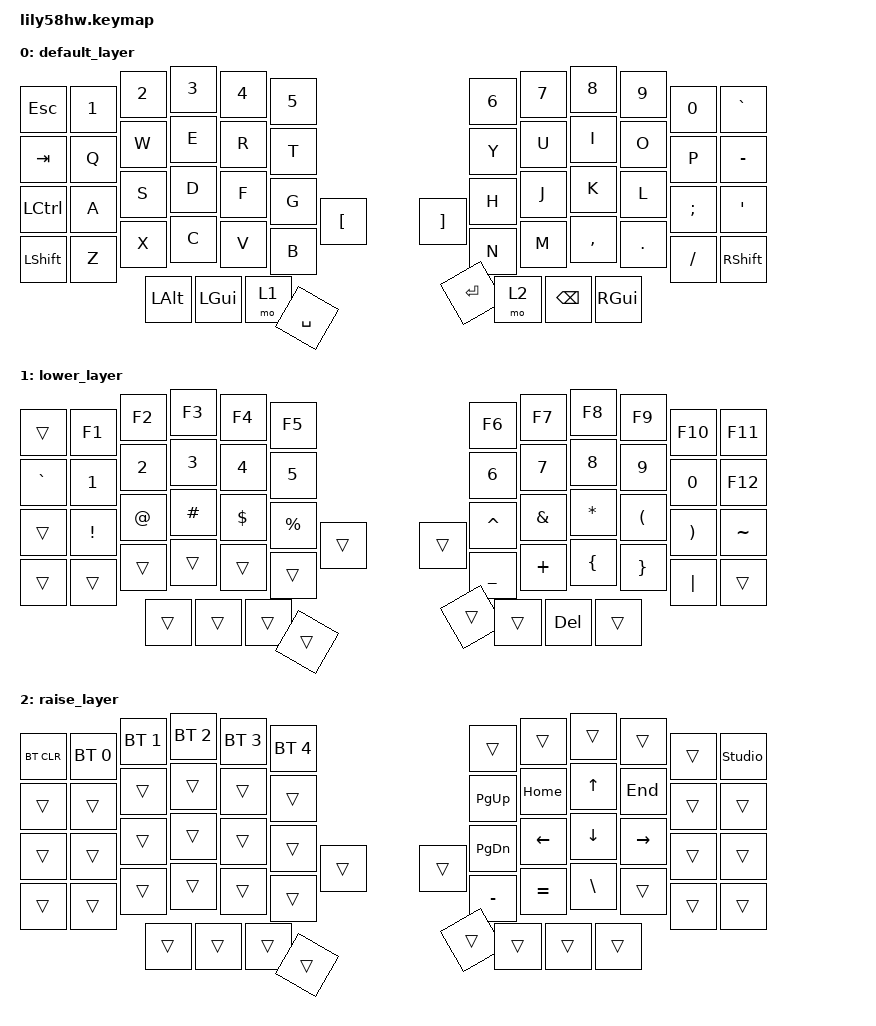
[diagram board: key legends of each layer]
#include <behaviors.dtsi>
#include <dt-bindings/zmk/keys.h>
#include <dt-bindings/zmk/bt.h>

/ {
    keymap {
        compatible = "zmk,keymap";

        default_layer {
            bindings = <
&kp ESC   &kp N1 &kp N2 &kp N3   &kp N4 &kp N5                       &kp N6 &kp N7    &kp N8    &kp N9   &kp N0   &kp GRAVE
&kp TAB   &kp Q  &kp W  &kp E    &kp R  &kp T                        &kp Y  &kp U     &kp I     &kp O    &kp P    &kp MINUS
&kp LCTRL &kp A  &kp S  &kp D    &kp F  &kp G                        &kp H  &kp J     &kp K     &kp L    &kp SEMI &kp SQT
&kp LSHFT &kp Z  &kp X  &kp C    &kp V  &kp B  &kp LBKT    &kp RBKT  &kp N  &kp M     &kp COMMA &kp DOT  &kp FSLH &kp RSHFT
                 &kp LALT &kp LGUI &mo 1 &kp SPACE         &kp RET   &mo 2  &kp BSPC  &kp RGUI
            >;
        };

        lower_layer {
            bindings = <
&trans  &kp F1  &kp F2  &kp F3  &kp F4  &kp F5                      &kp F6   &kp F7   &kp F8   &kp F9    &kp F10  &kp F11
&kp GRAVE &kp N1 &kp N2 &kp N3  &kp N4  &kp N5                      &kp N6   &kp N7   &kp N8   &kp N9    &kp N0   &kp F12
&trans  &kp EXCL &kp AT &kp HASH &kp DLLR &kp PRCNT                 &kp CARET &kp AMPS &kp STAR &kp LPAR &kp RPAR &kp TILDE
&trans  &trans  &trans  &trans  &trans  &trans  &trans    &trans    &kp UNDER &kp PLUS &kp LBRC &kp RBRC &kp PIPE &trans
                &trans  &trans  &trans  &trans                      &trans   &trans   &kp DEL  &trans
            >;
        };

        raise_layer {
            bindings = <
&bt BT_CLR &bt BT_SEL 0 &bt BT_SEL 1 &bt BT_SEL 2 &bt BT_SEL 3 &bt BT_SEL 4      &trans   &trans    &trans    &trans    &trans   &studio_unlock
&trans  &trans  &trans  &trans  &trans  &trans                      &kp PG_UP &kp HOME &kp UP    &kp END   &trans   &trans
&trans  &trans  &trans  &trans  &trans  &trans                      &kp PG_DN &kp LEFT &kp DOWN  &kp RIGHT &trans   &trans
&trans  &trans  &trans  &trans  &trans  &trans  &trans    &trans    &kp MINUS &kp EQUAL &kp BSLH &trans    &trans   &trans
                &trans  &trans  &trans  &trans                      &trans   &trans   &trans    &trans
            >;
        };

        extra_layer_3 {
            status = "reserved";
            bindings = <&trans &trans &trans &trans &trans &trans &trans &trans &trans &trans &trans &trans &trans &trans &trans &trans &trans &trans &trans &trans &trans &trans &trans &trans &trans &trans &trans &trans &trans &trans &trans &trans &trans &trans &trans &trans &trans &trans &trans &trans &trans &trans &trans &trans &trans &trans &trans &trans &trans &trans &trans &trans &trans &trans &trans &trans &trans &trans>;
        };

        extra_layer_4 {
            status = "reserved";
            bindings = <&trans &trans &trans &trans &trans &trans &trans &trans &trans &trans &trans &trans &trans &trans &trans &trans &trans &trans &trans &trans &trans &trans &trans &trans &trans &trans &trans &trans &trans &trans &trans &trans &trans &trans &trans &trans &trans &trans &trans &trans &trans &trans &trans &trans &trans &trans &trans &trans &trans &trans &trans &trans &trans &trans &trans &trans &trans &trans>;
        };

        extra_layer_5 {
            status = "reserved";
            bindings = <&trans &trans &trans &trans &trans &trans &trans &trans &trans &trans &trans &trans &trans &trans &trans &trans &trans &trans &trans &trans &trans &trans &trans &trans &trans &trans &trans &trans &trans &trans &trans &trans &trans &trans &trans &trans &trans &trans &trans &trans &trans &trans &trans &trans &trans &trans &trans &trans &trans &trans &trans &trans &trans &trans &trans &trans &trans &trans>;
        };

        extra_layer_6 {
            status = "reserved";
            bindings = <&trans &trans &trans &trans &trans &trans &trans &trans &trans &trans &trans &trans &trans &trans &trans &trans &trans &trans &trans &trans &trans &trans &trans &trans &trans &trans &trans &trans &trans &trans &trans &trans &trans &trans &trans &trans &trans &trans &trans &trans &trans &trans &trans &trans &trans &trans &trans &trans &trans &trans &trans &trans &trans &trans &trans &trans &trans &trans>;
        };

        extra_layer_7 {
            status = "reserved";
            bindings = <&trans &trans &trans &trans &trans &trans &trans &trans &trans &trans &trans &trans &trans &trans &trans &trans &trans &trans &trans &trans &trans &trans &trans &trans &trans &trans &trans &trans &trans &trans &trans &trans &trans &trans &trans &trans &trans &trans &trans &trans &trans &trans &trans &trans &trans &trans &trans &trans &trans &trans &trans &trans &trans &trans &trans &trans &trans &trans>;
        };

        extra_layer_8 {
            status = "reserved";
            bindings = <&trans &trans &trans &trans &trans &trans &trans &trans &trans &trans &trans &trans &trans &trans &trans &trans &trans &trans &trans &trans &trans &trans &trans &trans &trans &trans &trans &trans &trans &trans &trans &trans &trans &trans &trans &trans &trans &trans &trans &trans &trans &trans &trans &trans &trans &trans &trans &trans &trans &trans &trans &trans &trans &trans &trans &trans &trans &trans>;
        };
    };
};
